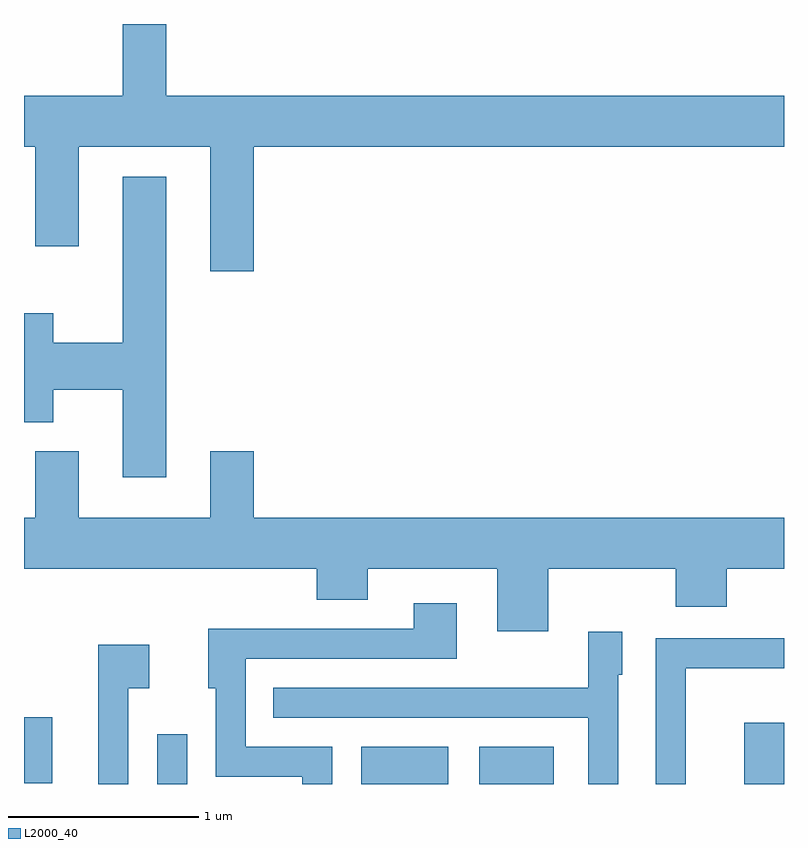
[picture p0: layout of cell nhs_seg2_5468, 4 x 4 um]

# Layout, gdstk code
import gdstk
lib = gdstk.Library(unit=1e-6, precision=1e-09)
def R(c, l, rs):  # rectangles x0, y0, x1, y1
    for r in rs: c.add(gdstk.rectangle(r[:2], r[2:], *l))
def P(c, l, *ps):  # polygons
    for p in ps: c.add(gdstk.Polygon(p, *l))
L2000_40 = (2000, 40)

nhs_seg2_5468 = lib.new_cell('nhs_seg2_5468')
R(nhs_seg2_5468, L2000_40, [(346.311,1093.802,346.469,1094.063), (347.386,1093.802,347.844,1093.999), (348.006,1093.802,348.399,1093.999), (349.401,1093.802,349.611,1094.124), (345.611,1093.806,345.759,1094.154)])
P(nhs_seg2_5468, L2000_40, [(346.819,1097.156),(349.611,1097.156),(349.611,1097.424),(346.359,1097.424),(346.359,1097.802),(346.131,1097.802),(346.131,1097.424),(345.611,1097.424),(345.611,1097.156),(345.671,1097.156),(345.671,1096.631),(345.899,1096.631),(345.899,1097.156),(346.591,1097.156),(346.591,1096.501),(346.819,1096.501)],
  [(346.359,1096.999),(346.131,1096.999),(346.131,1096.124),(345.764,1096.124),(345.764,1096.279),(345.611,1096.279),(345.611,1095.706),(345.764,1095.706),(345.764,1095.876),(346.131,1095.876),(346.131,1095.416),(346.359,1095.416)],
  [(348.369,1094.936),(349.041,1094.936),(349.041,1094.736),(349.309,1094.736),(349.309,1094.936),(349.611,1094.936),(349.611,1095.204),(346.819,1095.204),(346.819,1095.554),(346.591,1095.554),(346.591,1095.204),(345.899,1095.204),(345.899,1095.554),(345.671,1095.554),(345.671,1095.204),(345.611,1095.204),(345.611,1094.936),(347.151,1094.936),(347.151,1094.771),(347.419,1094.771),(347.419,1094.936),(348.101,1094.936),(348.101,1094.606),(348.369,1094.606)],
  [(347.234,1093.999),(346.779,1093.999),(346.779,1094.461),(347.889,1094.461),(347.889,1094.754),(347.661,1094.754),(347.661,1094.619),(346.581,1094.619),(346.581,1094.306),(346.621,1094.306),(346.621,1093.841),(347.076,1093.841),(347.076,1093.802),(347.234,1093.802)],
  [(348.739,1094.376),(348.759,1094.376),(348.759,1094.604),(348.581,1094.604),(348.581,1094.309),(346.923,1094.309),(346.923,1094.151),(348.581,1094.151),(348.581,1093.802),(348.739,1093.802)],
  [(349.094,1094.411),(349.611,1094.411),(349.611,1094.569),(348.936,1094.569),(348.936,1093.802),(349.094,1093.802)],
  [(346.159,1094.306),(346.269,1094.306),(346.269,1094.534),(346.001,1094.534),(346.001,1093.802),(346.159,1093.802)])

lib.write_gds('nhs_seg2_5468.gds')
